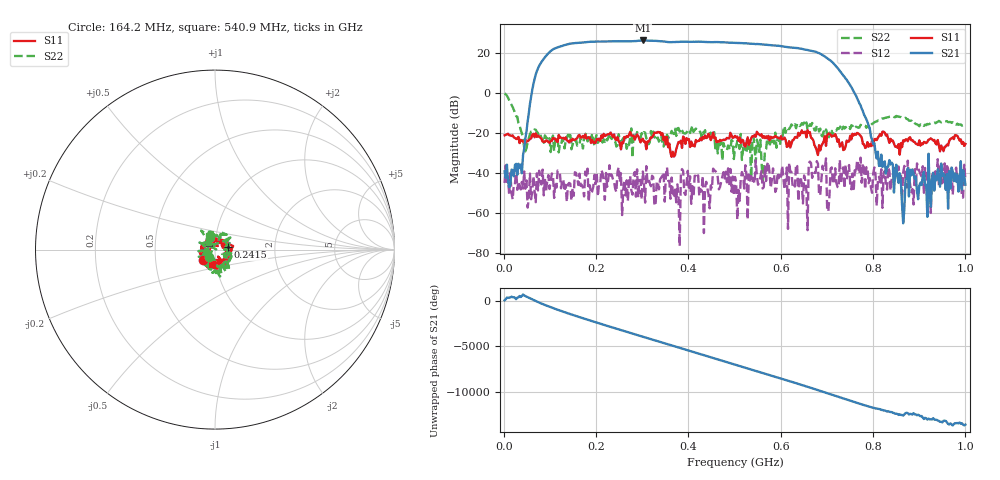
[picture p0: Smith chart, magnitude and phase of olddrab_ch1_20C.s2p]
!Keysight Technologies N9923A: A.12.45
!Date: Friday, 31 October 2025 22:34:05
!Timezone: (UTC+08:00) Kuala Lumpur, Singapore
!Model: N9923A
!Serial: MY61181427
!GPS Latitude:
!GPS Longitude:
!GPS TimeStamp: 0001-01-01 00:00:00Z
!GPS Seconds Since Last Read: 0
!CHECKSUM:0635246553
!Correction: S11(ON U?)S21(ON U?)S12(ON U?)S22(ON U?)
!S2P File: Measurements:S11,S21,S12,S22:
# Hz S DB R 50
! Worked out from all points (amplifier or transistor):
!   401 points, 2 MHz to 1 GHz, reference 50 ohm
!   highest |S21| = 26.3 dB at 301.4 MHz (marker M1)
!   |S21| within 3 dB of that: 122.4 MHz to 605.2 MHz (482.9 MHz wide, 133 % of centre)
!   unconditionally stable (mu >= 1): start of sweep to end of sweep
!   at 166.7 MHz: K = 5.72, MAG = 25.3 dB, |S12| = -46.4 dB
!   at 501 MHz: K = 3.51, MAG = 25.2 dB, |S12| = -41.9 dB
!   at 1 GHz: K = 14444.98, MAG = -45.7 dB, |S12| = -43.6 dB
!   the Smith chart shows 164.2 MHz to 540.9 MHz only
!   S11 on the Smith chart (normalised r, x): 164.2 MHz: 0.86, -0.10; 241.5 MHz: 1.15, +0.03; 540.9 MHz: 0.95, -0.15
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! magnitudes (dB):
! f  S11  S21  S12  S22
! 2 MHz  -21.1  -39.2  -45.0  -0.1
! 39.42 MHz  -23.9  -40.1  -44.4  -20.2
! 79.34 MHz  -22.2  14.6  -43.9  -20.9
! 164.2 MHz  -20.9  25.2  -40.3  -25.7
! 169.2 MHz  -22.1  25.3  -45.9  -23.9
! 241.5 MHz  -22.9  25.9  -47.8  -24.1
! 301.4 MHz  -22.8  26.3  -39.2  -21.0
! 336.3 MHz  -19.6  26.0  -48.1  -24.3
! 366.3 MHz  -29.4  25.5  -49.4  -20.0
! 438.6 MHz  -22.5  25.5  -44.3  -21.5
! 458.6 MHz  -22.2  25.5  -39.0  -28.8
! 501 MHz  -21.4  25.1  -41.9  -27.1
! 540.9 MHz  -21.8  24.7  -42.5  -21.6
! 653.2 MHz  -19.3  21.7  -43.6  -16.1
! 668.2 MHz  -22.7  21.1  -42.4  -14.9
! 705.6 MHz  -20.3  16.7  -51.2  -19.8
! 745.5 MHz  -24.2  5.7  -38.9  -17.4
! 810.4 MHz  -22.4  -29.3  -44.2  -13.7
! 835.3 MHz  -24.9  -33.5  -39.0  -11.8
! 865.3 MHz  -23.6  -65.1  -39.7  -12.4
! 885.2 MHz  -23.5  -38.1  -48.0  -14.8
! 1 GHz  -25.4  -45.9  -43.6  -16.3
